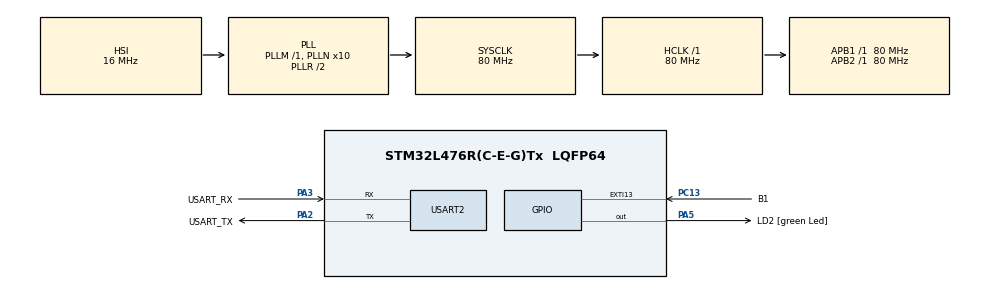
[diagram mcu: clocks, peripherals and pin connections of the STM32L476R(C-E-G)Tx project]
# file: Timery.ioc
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Mcu.Family=STM32L4
Mcu.Name=STM32L476R(C-E-G)Tx
Mcu.Package=LQFP64
NVIC.PriorityGroup=NVIC_PRIORITYGROUP_4
PA13\ (JTMS-SWDIO).GPIO_Label=TMS
PA13\ (JTMS-SWDIO).Mode=Serial_Wire
PA13\ (JTMS-SWDIO).Signal=SYS_JTMS-SWDIO
PA14\ (JTCK-SWCLK).GPIO_Label=TCK
PA14\ (JTCK-SWCLK).Mode=Serial_Wire
PA14\ (JTCK-SWCLK).Signal=SYS_JTCK-SWCLK
PA2.GPIO_Label=USART_TX
PA2.GPIO_Mode=GPIO_MODE_AF_PP
PA2.GPIO_PuPd=GPIO_NOPULL
PA2.GPIO_Speed=GPIO_SPEED_FREQ_VERY_HIGH
PA2.Mode=Asynchronous
PA2.Signal=USART2_TX
PA3.GPIO_Label=USART_RX
PA3.GPIO_Mode=GPIO_MODE_AF_PP
PA3.GPIO_PuPd=GPIO_NOPULL
PA3.GPIO_Speed=GPIO_SPEED_FREQ_VERY_HIGH
PA3.Mode=Asynchronous
PA3.Signal=USART2_RX
PA5.GPIO_Label=LD2 [green Led]
PA5.GPIO_ModeDefaultOutputPP=GPIO_MODE_OUTPUT_PP
PA5.GPIO_PuPd=GPIO_NOPULL
PA5.GPIO_Speed=GPIO_SPEED_FREQ_LOW
PA5.Signal=GPIO_Output
PB3\ (JTDO-TRACESWO).GPIO_Label=SWO
PB3\ (JTDO-TRACESWO).Signal=SYS_JTDO-SWO
PC13.GPIO_Label=B1
PC13.GPIO_ModeDefaultEXTI=GPIO_MODE_IT_FALLING
PC13.GPIO_PuPd=GPIO_NOPULL
PC13.Signal=GPXTI13
PC14-OSC32_IN\ (PC14).Mode=LSE-External-Oscillator
PC14-OSC32_IN\ (PC14).Signal=RCC_OSC32_IN
PC15-OSC32_OUT\ (PC15).Mode=LSE-External-Oscillator
PC15-OSC32_OUT\ (PC15).Signal=RCC_OSC32_OUT
PH0-OSC_IN\ (PH0).Signal=RCC_OSC_IN
PH1-OSC_OUT\ (PH1).Signal=RCC_OSC_OUT
ProjectManager.HeapSize=0x200
ProjectManager.StackSize=0x400
ProjectManager.TargetToolchain=STM32CubeIDE
RCC.ADCFreq_Value=64000000
RCC.AHBFreq_Value=80000000
RCC.APB1Freq_Value=80000000
RCC.APB1TimFreq_Value=80000000
RCC.APB2Freq_Value=80000000
RCC.APB2TimFreq_Value=80000000
RCC.CortexFreq_Value=80000000
RCC.HCLKFreq_Value=80000000
RCC.HSE_VALUE=8000000
RCC.HSI_VALUE=16000000
RCC.MSI_VALUE=4000000
RCC.PLLN=10
RCC.PLLSourceVirtual=RCC_PLLSOURCE_HSI
RCC.PREFETCH_ENABLE=1
RCC.RTCClockSelection=RCC_RTCCLKSOURCE_LSE
RCC.SYSCLKFreq_VALUE=80000000
RCC.SYSCLKSource=RCC_SYSCLKSOURCE_PLLCLK
RCC.USBFreq_Value=64000000
RCC.VCOOutputFreq_Value=160000000
USART2.VirtualMode-Asynchronous=VM_ASYNC
VP_RTC_VS_RTC_Activate.Mode=RTC_Enabled
board=NUCLEO-L476RG

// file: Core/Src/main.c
/* USER CODE BEGIN Header */
/**
 ******************************************************************************
 * @file           : main.c
 * @brief          : Main program body
 ******************************************************************************
 * @attention
 *
 * Copyright (c) 2023 STMicroelectronics.
 * All rights reserved.
 *
 * This software is licensed under terms that can be found in the LICENSE file
 * in the root directory of this software component.
 * If no LICENSE file comes with this software, it is provided AS-IS.
 *
 ******************************************************************************
 */
/* USER CODE END Header */
#include "main.h"

/* USER CODE BEGIN Includes */
#include <stdio.h>
#include <string.h>
#include <stdbool.h>
/* USER CODE END Includes */

RTC_HandleTypeDef hrtc;

UART_HandleTypeDef huart2;

void SystemClock_Config(void);
static void MX_GPIO_Init(void);
static void MX_USART2_UART_Init(void);
static void MX_RTC_Init(void);

/* USER CODE BEGIN 0 */
int __io_putchar(int ch) {
	if (ch == '\n') {
		uint8_t ch2 = '\r';
		HAL_UART_Transmit(&huart2, &ch2, 1, HAL_MAX_DELAY);
	}
	HAL_UART_Transmit(&huart2, (uint8_t*) &ch, 1, HAL_MAX_DELAY);
	return 1;
}

bool is_button_pressed(void) {
	if (HAL_GPIO_ReadPin(B1_GPIO_Port, B1_Pin) == GPIO_PIN_RESET) {
		return true;
	} else {
		return false;
	}
}
/* USER CODE END 0 */

int main(void) {

	/* MCU Configuration--------------------------------------------------------*/

	/* Reset of all peripherals, Initializes the Flash interface and the Systick. */
	HAL_Init();

	/* Configure the system clock */
	SystemClock_Config();

	/* Initialize all configured peripherals */
	MX_GPIO_Init();
	MX_USART2_UART_Init();
	MX_RTC_Init();

	/* Infinite loop */
	/* USER CODE BEGIN WHILE */
	while (1) {
		RTC_TimeTypeDef time;
		RTC_DateTypeDef date;

		if (is_button_pressed() == true) {
			RTC_TimeTypeDef new_time = { 0 };
			while (is_button_pressed() == true) {
			}

			new_time.Hours = 7;
			new_time.Minutes = 45;
			new_time.Seconds = 00;
			HAL_RTC_SetTime(&hrtc, &new_time, RTC_FORMAT_BIN);
		}

		HAL_RTC_GetTime(&hrtc, &time, RTC_FORMAT_BIN);
		HAL_RTC_GetDate(&hrtc, &date, RTC_FORMAT_BIN);

		printf("RTC: %04d-%02d-%02d, %02d:%02d:%02d\n", 2000 + date.Year,
				date.Month, date.Date, time.Hours, time.Minutes, time.Seconds);
		HAL_Delay(200);
		/* USER CODE END WHILE */

	}
}

void SystemClock_Config(void) {
	RCC_OscInitTypeDef RCC_OscInitStruct = { 0 };
	RCC_ClkInitTypeDef RCC_ClkInitStruct = { 0 };

	/** Configure the main internal regulator output voltage
	 */
	if (HAL_PWREx_ControlVoltageScaling(PWR_REGULATOR_VOLTAGE_SCALE1)
			!= HAL_OK) {
		Error_Handler();
	}

	/** Configure LSE Drive Capability
	 */
	HAL_PWR_EnableBkUpAccess();
	__HAL_RCC_LSEDRIVE_CONFIG(RCC_LSEDRIVE_LOW);

	/** Initializes the RCC Oscillators according to the specified parameters
	 * in the RCC_OscInitTypeDef structure.
	 */
	RCC_OscInitStruct.OscillatorType = RCC_OSCILLATORTYPE_HSI
			| RCC_OSCILLATORTYPE_LSE;
	RCC_OscInitStruct.LSEState = RCC_LSE_ON;
	RCC_OscInitStruct.HSIState = RCC_HSI_ON;
	RCC_OscInitStruct.HSICalibrationValue = RCC_HSICALIBRATION_DEFAULT;
	RCC_OscInitStruct.PLL.PLLState = RCC_PLL_ON;
	RCC_OscInitStruct.PLL.PLLSource = RCC_PLLSOURCE_HSI;
	RCC_OscInitStruct.PLL.PLLM = 1;
	RCC_OscInitStruct.PLL.PLLN = 10;
	RCC_OscInitStruct.PLL.PLLP = RCC_PLLP_DIV7;
	RCC_OscInitStruct.PLL.PLLQ = RCC_PLLQ_DIV2;
	RCC_OscInitStruct.PLL.PLLR = RCC_PLLR_DIV2;
	if (HAL_RCC_OscConfig(&RCC_OscInitStruct) != HAL_OK) {
		Error_Handler();
	}

	/** Initializes the CPU, AHB and APB buses clocks
	 */
	RCC_ClkInitStruct.ClockType = RCC_CLOCKTYPE_HCLK | RCC_CLOCKTYPE_SYSCLK
			| RCC_CLOCKTYPE_PCLK1 | RCC_CLOCKTYPE_PCLK2;
	RCC_ClkInitStruct.SYSCLKSource = RCC_SYSCLKSOURCE_PLLCLK;
	RCC_ClkInitStruct.AHBCLKDivider = RCC_SYSCLK_DIV1;
	RCC_ClkInitStruct.APB1CLKDivider = RCC_HCLK_DIV1;
	RCC_ClkInitStruct.APB2CLKDivider = RCC_HCLK_DIV1;

	if (HAL_RCC_ClockConfig(&RCC_ClkInitStruct, FLASH_LATENCY_4) != HAL_OK) {
		Error_Handler();
	}
}

static void MX_RTC_Init(void) {

	/** Initialize RTC Only
	 */
	hrtc.Instance = RTC;
	hrtc.Init.HourFormat = RTC_HOURFORMAT_24;
	hrtc.Init.AsynchPrediv = 127;
	hrtc.Init.SynchPrediv = 255;
	hrtc.Init.OutPut = RTC_OUTPUT_DISABLE;
	hrtc.Init.OutPutRemap = RTC_OUTPUT_REMAP_NONE;
	hrtc.Init.OutPutPolarity = RTC_OUTPUT_POLARITY_HIGH;
	hrtc.Init.OutPutType = RTC_OUTPUT_TYPE_OPENDRAIN;
	if (HAL_RTC_Init(&hrtc) != HAL_OK) {
		Error_Handler();
	}

}

static void MX_USART2_UART_Init(void) {

	huart2.Instance = USART2;
	huart2.Init.BaudRate = 115200;
	huart2.Init.WordLength = UART_WORDLENGTH_8B;
	huart2.Init.StopBits = UART_STOPBITS_1;
	huart2.Init.Parity = UART_PARITY_NONE;
	huart2.Init.Mode = UART_MODE_TX_RX;
	huart2.Init.HwFlowCtl = UART_HWCONTROL_NONE;
	huart2.Init.OverSampling = UART_OVERSAMPLING_16;
	huart2.Init.OneBitSampling = UART_ONE_BIT_SAMPLE_DISABLE;
	huart2.AdvancedInit.AdvFeatureInit = UART_ADVFEATURE_NO_INIT;
	if (HAL_UART_Init(&huart2) != HAL_OK) {
		Error_Handler();
	}

}

static void MX_GPIO_Init(void) {
	GPIO_InitTypeDef GPIO_InitStruct = { 0 };

	/* GPIO Ports Clock Enable */
	__HAL_RCC_GPIOC_CLK_ENABLE();
	__HAL_RCC_GPIOH_CLK_ENABLE();
	__HAL_RCC_GPIOA_CLK_ENABLE();
	__HAL_RCC_GPIOB_CLK_ENABLE();

	/*Configure GPIO pin Output Level */
	HAL_GPIO_WritePin(LD2_GPIO_Port, LD2_Pin, GPIO_PIN_RESET);

	/*Configure GPIO pin : B1_Pin */
	GPIO_InitStruct.Pin = B1_Pin;
	GPIO_InitStruct.Mode = GPIO_MODE_IT_FALLING;
	GPIO_InitStruct.Pull = GPIO_NOPULL;
	HAL_GPIO_Init(B1_GPIO_Port, &GPIO_InitStruct);

	/*Configure GPIO pin : LD2_Pin */
	GPIO_InitStruct.Pin = LD2_Pin;
	GPIO_InitStruct.Mode = GPIO_MODE_OUTPUT_PP;
	GPIO_InitStruct.Pull = GPIO_NOPULL;
	GPIO_InitStruct.Speed = GPIO_SPEED_FREQ_LOW;
	HAL_GPIO_Init(LD2_GPIO_Port, &GPIO_InitStruct);

}

void Error_Handler(void) {
	__disable_irq();
	while (1) {
	}
}
